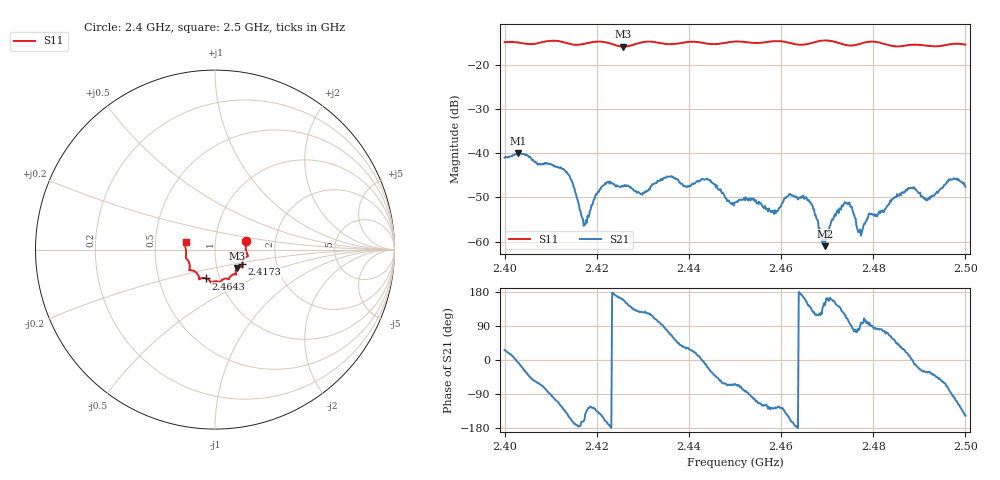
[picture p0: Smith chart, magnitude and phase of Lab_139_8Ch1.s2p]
# Hz S RI R 50
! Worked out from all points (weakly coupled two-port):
!   601 points, 2.4 GHz to 2.5 GHz, reference 50 ohm
!   highest |S21| = -39.98 dB at 2.4028 GHz (marker M1); lowest = -61.0 dB at 2.4695 GHz (marker M2)
!   lowest |S11| = -15.9 dB at 2.4257 GHz (marker M3), VSWR 1.38, Z = 62.5 - j13.1 ohm
!   |S11| at or under -10 dB: start of sweep to end of sweep
!   S12 and S22 are empty: the file has one direction only
!   S11 on the Smith chart (normalised r, x): 2.4 GHz: 1.41, +0.14; 2.4173 GHz: 1.34, -0.23; 2.4643 GHz: 0.86, -0.28; 2.5 GHz: 0.72, +0.06
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2.4e9  0.1732 0.0488  0.00796 0.00397  0 0  0 0
2.402833e9  0.1751 0.0359  0.00998 -0.000949  0 0  0 0
2.413167e9  0.1727 -0.0419  -0.00459 -0.00437  0 0  0 0
2.416667e9  0.1527 -0.0742  -0.00187 -0.000562  0 0  0 0
2.417333e9  0.152 -0.0816  -0.00145 -0.000595  0 0  0 0
2.4215e9  0.1533 -0.0962  -0.00387 -0.00194  0 0  0 0
2.425667e9  0.1228 -0.1025  -0.00399 0.00154  0 0  0 0
2.429833e9  0.117 -0.1359  -0.00202 0.00273  0 0  0 0
2.433333e9  0.1127 -0.1371  -0.000901 0.00473  0 0  0 0
2.444167e9  0.0621 -0.1611  0.00476 -0.00176  0 0  0 0
2.45e9  0.0284 -0.1809  0.00126 -0.00249  0 0  0 0
2.458333e9  -0.0203 -0.1833  -0.00137 -0.00177  0 0  0 0
2.464333e9  -0.05 -0.1607  -0.00309 0.000327  0 0  0 0
2.466667e9  -0.076 -0.1591  -0.00177 0.00192  0 0  0 0
2.4695e9  -0.0883 -0.1661  -0.000723 0.000516  0 0  0 0
2.473667e9  -0.0952 -0.1396  -0.00147 0.00223  0 0  0 0
2.477167e9  -0.1281 -0.1158  -1.24e-05 0.00138  0 0  0 0
2.483333e9  -0.1405 -0.0897  0.00101 0.00245  0 0  0 0
2.488167e9  -0.1605 -0.0492  0.00402 0.000335  0 0  0 0
2.491833e9  -0.1614 -0.0273  0.00247 -0.00162  0 0  0 0
2.496833e9  -0.169 0.0261  0.000289 -0.00504  0 0  0 0
2.5e9  -0.1634 0.0426  -0.0035 -0.00226  0 0  0 0
